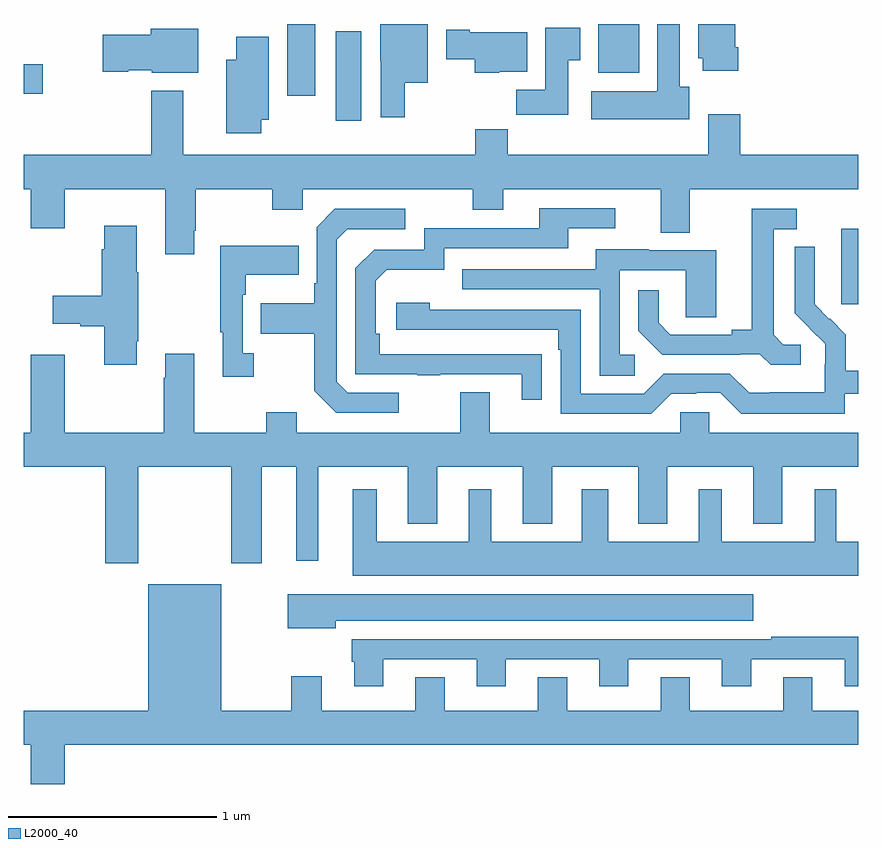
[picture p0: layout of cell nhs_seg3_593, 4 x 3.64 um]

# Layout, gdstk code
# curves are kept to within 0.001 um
import gdstk
lib = gdstk.Library(unit=1e-6, precision=1e-09)
def R(c, l, rs):  # rectangles x0, y0, x1, y1
    for r in rs: c.add(gdstk.rectangle(r[:2], r[2:], *l))
def P(c, l, *ps):  # polygons
    for p in ps: c.add(gdstk.Polygon(p, *l))
L2000_40 = (2000, 40)

nhs_seg3_593 = lib.new_cell('nhs_seg3_593')
R(nhs_seg3_593, L2000_40, [(144.92,675.057,145,675.418), (142.496,675.936,142.618,676.366), (142.262,676.056,142.396,676.4), (141,676.066,141.091,676.208), (143.753,676.166,143.95,676.4)])
P(nhs_seg3_593, L2000_40, [(144.19,676.098),(144.145,676.098),(144.145,676.4),(144.038,676.4),(144.038,676.078),(143.721,676.078),(143.721,675.944),(144.19,675.944)],
  [(144.425,676.288),(144.412,676.288),(144.412,676.4),(144.233,676.4),(144.233,676.236),(144.254,676.236),(144.254,676.176),(144.425,676.176)],
  [(142.826,676.118),(142.936,676.118),(142.936,676.4),(142.709,676.4),(142.709,676.222),(142.71,676.222),(142.71,675.954),(142.826,675.954)],
  [(143.611,676.225),(143.668,676.225),(143.668,676.381),(143.501,676.381),(143.501,676.084),(143.362,676.084),(143.362,675.966),(143.611,675.966)],
  [(141.835,676.378),(141.608,676.378),(141.608,676.349),(141.378,676.349),(141.378,676.171),(141.501,676.171),(141.501,676.178),(141.612,676.178),(141.612,676.166),(141.835,676.166)],
  [(143.28,676.172),(143.413,676.172),(143.413,676.36),(143.137,676.36),(143.137,676.373),(143.025,676.373),(143.025,676.231),(143.162,676.231),(143.162,676.166),(143.28,676.166)],
  [(142.137,675.941),(142.174,675.941),(142.174,676.339),(142.019,676.339),(142.019,676.228),(141.971,676.228),(141.971,675.876),(142.137,675.876)],
  [(141.817,675.409),(141.825,675.409),(141.825,675.608),(142.192,675.608),(142.192,675.509),(142.338,675.509),(142.338,675.608),(143.152,675.608),(143.152,675.509),(143.299,675.509),(143.299,675.608),(144.053,675.608),(144.053,675.4),(144.193,675.4),(144.193,675.608),(145,675.608),(145,675.772),(144.434,675.772),(144.434,675.967),(144.281,675.967),(144.281,675.772),(143.321,675.772),(143.321,675.896),(143.165,675.896),(143.165,675.772),(141.763,675.772),(141.763,676.081),(141.611,676.081),(141.611,675.772),(141,675.772),(141,675.608),(141.032,675.608),(141.032,675.42),(141.196,675.42),(141.196,675.608),(141.677,675.608),(141.677,675.297),(141.817,675.297)],
  [(143.483,674.816),(142.706,674.817),(142.706,674.914),(142.686,674.914),(142.686,675.168),(142.739,675.221),(143.016,675.221),(143.016,675.324),(143.611,675.324),(143.611,675.42),(143.836,675.42),(143.836,675.516),(143.471,675.516),(143.471,675.42),(142.92,675.42),(142.92,675.318),(142.68,675.318),(142.59,675.228),(142.59,674.721),(142.885,674.721),(142.885,674.716),(142.997,674.716),(142.997,674.721),(143.387,674.721),(143.387,674.598),(143.483,674.598)],
  [(142.798,674.631),(142.554,674.631),(142.5,674.685),(142.5,675.366),(142.551,675.417),(142.828,675.417),(142.828,675.513),(142.491,675.513),(142.404,675.426),(142.404,675.157),(142.392,675.157),(142.392,675.061),(142.135,675.061),(142.135,674.914),(142.392,674.914),(142.392,674.641),(142.497,674.535),(142.798,674.535)],
  [(144.724,674.862),(144.642,674.862),(144.595,674.909),(144.595,675.417),(144.706,675.417),(144.706,675.513),(144.491,675.513),(144.491,674.933),(144.395,674.933),(144.395,674.91),(144.1,674.91),(144.043,674.967),(144.043,675.124),(143.946,675.124),(143.946,674.93),(144.062,674.814),(144.434,674.814),(144.434,674.817),(144.528,674.817),(144.58,674.765),(144.724,674.765)],
  [(141.541,674.878),(141.549,674.878),(141.549,675.209),(141.541,675.209),(141.541,675.433),(141.386,675.433),(141.386,675.32),(141.374,675.32),(141.374,675.098),(141.138,675.098),(141.138,674.963),(141.27,674.963),(141.27,674.951),(141.386,674.951),(141.386,674.766),(141.541,674.766)],
  [(142.102,674.822),(142.05,674.822),(142.05,675.101),(142.063,675.101),(142.063,675.197),(142.319,675.197),(142.319,675.337),(141.942,675.337),(141.942,674.921),(141.953,674.921),(141.953,674.709),(142.102,674.709)],
  [(144.936,674.628),(145,674.628),(145,674.737),(144.941,674.737),(144.941,674.911),(144.864,674.988),(144.861,674.985),(144.791,675.056),(144.792,675.332),(144.696,675.332),(144.696,675.014),(144.842,674.866),(144.842,674.769),(144.84,674.769),(144.84,674.635),(144.577,674.635),(144.577,674.631),(144.477,674.631),(144.384,674.724),(144.069,674.724),(143.973,674.628),(143.67,674.628),(143.67,675.03),(142.946,675.03),(142.946,675.064),(142.785,675.064),(142.785,674.934),(143.561,674.934),(143.561,674.837),(143.574,674.837),(143.574,674.532),(144.009,674.532),(144.105,674.628),(144.224,674.628),(144.224,674.631),(144.339,674.631),(144.439,674.531),(144.936,674.531)],
  [(143.929,674.814),(143.856,674.814),(143.856,675.219),(144.174,675.219),(144.174,674.995),(144.319,674.995),(144.319,675.315),(143.995,675.315),(143.995,675.319),(143.741,675.319),(143.741,675.225),(143.101,675.225),(143.101,675.129),(143.76,675.129),(143.76,674.713),(143.929,674.713)],
  [(142.309,674.539),(142.162,674.539),(142.162,674.44),(141.817,674.44),(141.817,674.818),(141.677,674.818),(141.677,674.705),(141.67,674.705),(141.67,674.44),(141.196,674.44),(141.196,674.815),(141.032,674.815),(141.032,674.44),(141,674.44),(141,674.276),(141.389,674.276),(141.389,673.815),(141.549,673.815),(141.549,674.276),(141.994,674.276),(141.994,673.815),(142.141,673.815),(142.141,674.276),(142.307,674.276),(142.307,673.827),(142.411,673.827),(142.411,674.276),(142.841,674.276),(142.841,674.003),(142.981,674.003),(142.981,674.276),(143.393,674.276),(143.393,674.003),(143.533,674.003),(143.533,674.276),(143.945,674.276),(143.945,674.003),(144.085,674.003),(144.085,674.276),(144.497,674.276),(144.497,674.003),(144.637,674.003),(144.637,674.276),(145,674.276),(145,674.44),(144.285,674.44),(144.285,674.538),(144.147,674.538),(144.147,674.44),(143.233,674.44),(143.233,674.635),(143.093,674.635),(143.093,674.44),(142.309,674.44)],
  [(145,673.918),(144.895,673.918),(144.895,674.17),(144.791,674.17),(144.791,673.918),(144.346,673.918),(144.346,674.17),(144.236,674.17),(144.236,673.918),(143.803,673.918),(143.803,674.17),(143.675,674.17),(143.675,673.918),(143.242,673.918),(143.242,674.17),(143.132,674.17),(143.132,673.918),(142.693,673.918),(142.693,674.17),(142.577,674.17),(142.577,673.754),(145,673.754)],
  [(141.196,672.944),(145,672.944),(145,673.108),(144.781,673.108),(144.781,673.268),(144.641,673.268),(144.641,673.108),(144.193,673.108),(144.193,673.268),(144.053,673.268),(144.053,673.108),(143.605,673.108),(143.605,673.268),(143.465,673.268),(143.465,673.108),(143.017,673.108),(143.017,673.268),(142.877,673.268),(142.877,673.108),(142.429,673.108),(142.429,673.273),(142.282,673.273),(142.282,673.108),(141.946,673.108),(141.946,673.714),(141.596,673.714),(141.596,673.108),(141,673.108),(141,672.944),(141.032,672.944),(141.032,672.756),(141.196,672.756)],
  [(142.495,673.538),(144.496,673.538),(144.496,673.666),(142.266,673.666),(142.266,673.502),(142.495,673.502)],
  [(142.723,673.353),(143.171,673.353),(143.171,673.224),(143.311,673.224),(143.311,673.353),(143.759,673.353),(143.759,673.224),(143.899,673.224),(143.899,673.353),(144.347,673.353),(144.347,673.224),(144.487,673.224),(144.487,673.353),(144.935,673.353),(144.935,673.224),(145,673.224),(145,673.462),(144.583,673.462),(144.583,673.449),(142.571,673.449),(142.571,673.341),(142.583,673.341),(142.583,673.224),(142.723,673.224)])

lib.write_gds('nhs_seg3_593.gds')
